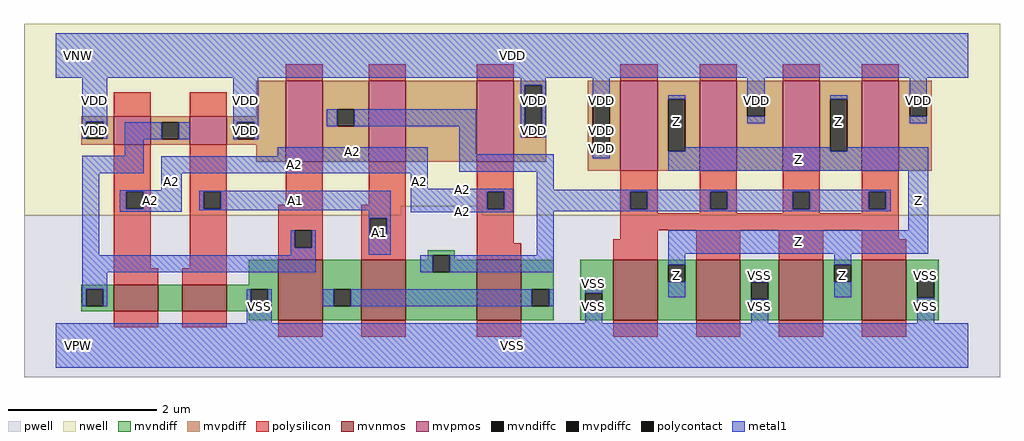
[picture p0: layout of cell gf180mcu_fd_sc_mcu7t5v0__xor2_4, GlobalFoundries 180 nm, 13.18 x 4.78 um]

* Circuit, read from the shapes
.subckt gf180mcu_fd_sc_mcu7t5v0__xor2_4 A1 A2 Z VDD VNW VPW VSS
XM1 n1 A2 n2 VPW nfet_06v0 w=0.36u l=0.6u
XM2 VSS A1 n1 VPW nfet_06v0 w=0.36u l=0.6u
XM3 n3 n2 VSS VPW nfet_06v0 w=0.82u l=0.6u
XM4 n4 A1 n3 VPW nfet_06v0 w=0.82u l=0.6u
XM5 n3 A2 n4 VPW nfet_06v0 w=0.82u l=0.6u
XM6 Z n4 VSS VPW nfet_06v0 w=0.82u l=0.6u m=4
XM7 n2 A2 VDD VNW pfet_06v0 w=0.385u l=0.5u
XM8 VDD A1 n2 VNW pfet_06v0 w=0.385u l=0.5u
XM9 n4 n2 VDD VNW pfet_06v0 w=1.095u l=0.5u
XM10 n5 A1 n4 VNW pfet_06v0 w=1.095u l=0.5u
XM11 VDD A2 n5 VNW pfet_06v0 w=1.095u l=0.5u
XM12 Z n4 VDD VNW pfet_06v0 w=1.22u l=0.5u m=4
.ends

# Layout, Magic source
magic
tech gf180mcuD
magscale 1 10
<< nwell >>
rect -86 377 2550 870
rect -86 352 931 377
rect 1151 352 2550 377
<< pwell >>
rect 931 352 1151 377
rect -86 -86 2550 352
<< mvnmos >>
rect 157 93 277 165
rect 341 93 461 165
rect 601 68 721 232
rect 825 68 945 232
rect 1137 68 1257 232
rect 1505 68 1625 232
rect 1729 68 1849 232
rect 1953 68 2073 232
rect 2177 68 2297 232
<< mvpmos >>
rect 157 543 257 620
rect 361 543 461 620
rect 621 497 721 716
rect 845 497 945 716
rect 1137 497 1237 716
rect 1525 472 1625 716
rect 1739 472 1839 716
rect 1963 472 2063 716
rect 2177 472 2277 716
<< mvndiff >>
rect 1005 244 1077 257
rect 1005 232 1018 244
rect 521 165 601 232
rect 69 152 157 165
rect 69 106 82 152
rect 128 106 157 152
rect 69 93 157 106
rect 277 93 341 165
rect 461 152 601 165
rect 461 106 526 152
rect 572 106 601 152
rect 461 93 601 106
rect 521 68 601 93
rect 721 152 825 232
rect 721 106 750 152
rect 796 106 825 152
rect 721 68 825 106
rect 945 198 1018 232
rect 1064 232 1077 244
rect 1064 198 1137 232
rect 945 68 1137 198
rect 1257 152 1345 232
rect 1257 106 1286 152
rect 1332 106 1345 152
rect 1257 68 1345 106
rect 1417 142 1505 232
rect 1417 96 1430 142
rect 1476 96 1505 142
rect 1417 68 1505 96
rect 1625 218 1729 232
rect 1625 172 1654 218
rect 1700 172 1729 218
rect 1625 68 1729 172
rect 1849 171 1953 232
rect 1849 125 1878 171
rect 1924 125 1953 171
rect 1849 68 1953 125
rect 2073 218 2177 232
rect 2073 172 2102 218
rect 2148 172 2177 218
rect 2073 68 2177 172
rect 2297 176 2385 232
rect 2297 130 2326 176
rect 2372 130 2385 176
rect 2297 68 2385 130
<< mvpdiff >>
rect 541 620 621 716
rect 69 605 157 620
rect 69 559 82 605
rect 128 559 157 605
rect 69 543 157 559
rect 257 603 361 620
rect 257 557 286 603
rect 332 557 361 603
rect 257 543 361 557
rect 461 603 621 620
rect 461 557 490 603
rect 536 557 621 603
rect 461 543 621 557
rect 541 497 621 543
rect 721 639 845 716
rect 721 593 760 639
rect 806 593 845 639
rect 721 497 845 593
rect 945 497 1137 716
rect 1237 703 1325 716
rect 1237 563 1266 703
rect 1312 563 1325 703
rect 1237 497 1325 563
rect 1437 665 1525 716
rect 1437 525 1450 665
rect 1496 525 1525 665
rect 1437 472 1525 525
rect 1625 665 1739 716
rect 1625 525 1654 665
rect 1700 525 1739 665
rect 1625 472 1739 525
rect 1839 665 1963 716
rect 1839 619 1868 665
rect 1914 619 1963 665
rect 1839 472 1963 619
rect 2063 665 2177 716
rect 2063 525 2092 665
rect 2138 525 2177 665
rect 2063 472 2177 525
rect 2277 665 2365 716
rect 2277 619 2306 665
rect 2352 619 2365 665
rect 2277 472 2365 619
<< mvndiffc >>
rect 82 106 128 152
rect 526 106 572 152
rect 750 106 796 152
rect 1018 198 1064 244
rect 1286 106 1332 152
rect 1430 96 1476 142
rect 1654 172 1700 218
rect 1878 125 1924 171
rect 2102 172 2148 218
rect 2326 130 2372 176
<< mvpdiffc >>
rect 82 559 128 605
rect 286 557 332 603
rect 490 557 536 603
rect 760 593 806 639
rect 1266 563 1312 703
rect 1450 525 1496 665
rect 1654 525 1700 665
rect 1868 619 1914 665
rect 2092 525 2138 665
rect 2306 619 2352 665
<< polysilicon >>
rect 621 716 721 760
rect 845 716 945 760
rect 1137 716 1237 760
rect 1525 716 1625 760
rect 1739 716 1839 760
rect 1963 716 2063 760
rect 2177 716 2277 760
rect 157 620 257 684
rect 361 620 461 684
rect 157 416 257 543
rect 157 370 190 416
rect 236 370 257 416
rect 157 209 257 370
rect 361 416 461 543
rect 361 370 399 416
rect 445 370 461 416
rect 621 381 721 497
rect 845 381 945 497
rect 361 209 461 370
rect 601 311 721 381
rect 601 265 645 311
rect 691 265 721 311
rect 601 232 721 265
rect 825 344 945 381
rect 825 298 848 344
rect 894 298 945 344
rect 825 232 945 298
rect 1137 415 1237 497
rect 1137 369 1165 415
rect 1211 369 1237 415
rect 1137 276 1237 369
rect 1525 415 1625 472
rect 1525 369 1551 415
rect 1597 369 1625 415
rect 1525 357 1625 369
rect 1739 415 1839 472
rect 1739 369 1767 415
rect 1813 369 1839 415
rect 1739 357 1839 369
rect 1963 415 2063 472
rect 1963 369 1990 415
rect 2036 369 2063 415
rect 1963 357 2063 369
rect 2177 415 2277 472
rect 2177 369 2196 415
rect 2242 369 2277 415
rect 2177 357 2277 369
rect 1525 311 2277 357
rect 1525 288 1625 311
rect 157 165 277 209
rect 341 165 461 209
rect 157 49 277 93
rect 341 49 461 93
rect 1137 232 1257 276
rect 1505 232 1625 288
rect 1729 232 1849 311
rect 1953 232 2073 311
rect 2177 288 2277 311
rect 2177 232 2297 288
rect 601 24 721 68
rect 825 24 945 68
rect 1137 24 1257 68
rect 1505 24 1625 68
rect 1729 24 1849 68
rect 1953 24 2073 68
rect 2177 24 2297 68
<< polycontact >>
rect 190 370 236 416
rect 399 370 445 416
rect 645 265 691 311
rect 848 298 894 344
rect 1165 369 1211 415
rect 1551 369 1597 415
rect 1767 369 1813 415
rect 1990 369 2036 415
rect 2196 369 2242 415
<< metal1 >>
rect 0 724 2464 844
rect 71 605 139 724
rect 71 559 82 605
rect 128 559 139 605
rect 479 603 547 724
rect 1255 703 1323 724
rect 186 557 286 603
rect 332 557 361 603
rect 479 557 490 603
rect 536 557 547 603
rect 732 593 760 639
rect 806 593 1136 639
rect 186 513 238 557
rect 71 466 238 513
rect 600 511 1005 536
rect 71 244 117 466
rect 285 465 1005 511
rect 1090 517 1136 593
rect 1255 563 1266 703
rect 1312 563 1323 703
rect 1450 665 1496 724
rect 1090 470 1345 517
rect 1450 506 1496 525
rect 1654 665 1700 676
rect 1868 665 1914 724
rect 1868 600 1914 619
rect 2092 665 2138 676
rect 1700 525 2092 536
rect 2306 665 2352 724
rect 2306 600 2352 619
rect 2138 525 2356 536
rect 1654 472 2356 525
rect 285 420 340 465
rect 172 416 340 420
rect 959 424 1005 465
rect 172 370 190 416
rect 236 370 340 416
rect 172 362 340 370
rect 387 416 905 419
rect 387 370 399 416
rect 445 370 905 416
rect 387 365 905 370
rect 845 344 905 365
rect 959 415 1236 424
rect 959 369 1165 415
rect 1211 369 1236 415
rect 959 360 1236 369
rect 1299 421 1345 470
rect 1299 415 2255 421
rect 1299 369 1551 415
rect 1597 369 1767 415
rect 1813 369 1990 415
rect 2036 369 2196 415
rect 2242 369 2255 415
rect 1299 363 2255 369
rect 634 265 645 311
rect 691 265 702 311
rect 634 244 702 265
rect 845 298 848 344
rect 894 298 905 344
rect 845 246 905 298
rect 1299 244 1345 363
rect 2302 312 2356 472
rect 71 198 702 244
rect 984 198 1018 244
rect 1064 198 1345 244
rect 1654 248 2356 312
rect 1654 218 1700 248
rect 71 152 139 198
rect 71 106 82 152
rect 128 106 139 152
rect 515 106 526 152
rect 572 106 583 152
rect 721 106 750 152
rect 796 106 1286 152
rect 1332 106 1345 152
rect 1430 142 1476 181
rect 515 60 583 106
rect 2102 218 2148 248
rect 1654 131 1700 172
rect 1878 171 1924 197
rect 1430 60 1476 96
rect 2102 131 2148 172
rect 2326 176 2372 197
rect 1878 60 1924 125
rect 2326 60 2372 130
rect 0 -60 2464 60
<< labels >>
flabel metal1 s 0 724 2464 844 0 FreeSans 400 0 0 0 VDD
port 4 nsew power bidirectional abutment
flabel metal1 s 2326 181 2372 197 0 FreeSans 400 0 0 0 VSS
port 7 nsew ground bidirectional abutment
flabel metal1 s 2092 536 2138 676 0 FreeSans 400 0 0 0 Z
port 3 nsew default output
flabel metal1 s 387 365 905 419 0 FreeSans 400 0 0 0 A1
port 1 nsew default input
flabel metal1 s 600 511 1005 536 0 FreeSans 400 0 0 0 A2
port 2 nsew default input
flabel nwell s 10 734 110 834 0 FreeSans 400 0 0 0 VNW
port 5 nsew power bidirectional
flabel pwell s 10 -50 110 50 0 FreeSans 400 0 0 0 VPW
port 6 nsew ground bidirectional
rlabel metal1 s 845 246 905 365 1 A1
port 1 nsew default input
rlabel metal1 s 285 465 1005 511 1 A2
port 2 nsew default input
rlabel metal1 s 959 424 1005 465 1 A2
port 2 nsew default input
rlabel metal1 s 285 424 340 465 1 A2
port 2 nsew default input
rlabel metal1 s 959 420 1236 424 1 A2
port 2 nsew default input
rlabel metal1 s 285 420 340 424 1 A2
port 2 nsew default input
rlabel metal1 s 959 362 1236 420 1 A2
port 2 nsew default input
rlabel metal1 s 172 362 340 420 1 A2
port 2 nsew default input
rlabel metal1 s 959 360 1236 362 1 A2
port 2 nsew default input
rlabel metal1 s 1654 536 1700 676 1 Z
port 3 nsew default output
rlabel metal1 s 1654 472 2356 536 1 Z
port 3 nsew default output
rlabel metal1 s 2302 312 2356 472 1 Z
port 3 nsew default output
rlabel metal1 s 1654 248 2356 312 1 Z
port 3 nsew default output
rlabel metal1 s 2102 131 2148 248 1 Z
port 3 nsew default output
rlabel metal1 s 1654 131 1700 248 1 Z
port 3 nsew default output
rlabel metal1 s 2306 600 2352 724 1 VDD
port 4 nsew power bidirectional abutment
rlabel metal1 s 1868 600 1914 724 1 VDD
port 4 nsew power bidirectional abutment
rlabel metal1 s 1450 600 1496 724 1 VDD
port 4 nsew power bidirectional abutment
rlabel metal1 s 1255 600 1323 724 1 VDD
port 4 nsew power bidirectional abutment
rlabel metal1 s 479 600 547 724 1 VDD
port 4 nsew power bidirectional abutment
rlabel metal1 s 71 600 139 724 1 VDD
port 4 nsew power bidirectional abutment
rlabel metal1 s 1450 563 1496 600 1 VDD
port 4 nsew power bidirectional abutment
rlabel metal1 s 1255 563 1323 600 1 VDD
port 4 nsew power bidirectional abutment
rlabel metal1 s 479 563 547 600 1 VDD
port 4 nsew power bidirectional abutment
rlabel metal1 s 71 563 139 600 1 VDD
port 4 nsew power bidirectional abutment
rlabel metal1 s 1450 559 1496 563 1 VDD
port 4 nsew power bidirectional abutment
rlabel metal1 s 479 559 547 563 1 VDD
port 4 nsew power bidirectional abutment
rlabel metal1 s 71 559 139 563 1 VDD
port 4 nsew power bidirectional abutment
rlabel metal1 s 1450 557 1496 559 1 VDD
port 4 nsew power bidirectional abutment
rlabel metal1 s 479 557 547 559 1 VDD
port 4 nsew power bidirectional abutment
rlabel metal1 s 1450 506 1496 557 1 VDD
port 4 nsew power bidirectional abutment
rlabel metal1 s 1878 181 1924 197 1 VSS
port 7 nsew ground bidirectional abutment
rlabel metal1 s 2326 152 2372 181 1 VSS
port 7 nsew ground bidirectional abutment
rlabel metal1 s 1878 152 1924 181 1 VSS
port 7 nsew ground bidirectional abutment
rlabel metal1 s 1430 152 1476 181 1 VSS
port 7 nsew ground bidirectional abutment
rlabel metal1 s 2326 60 2372 152 1 VSS
port 7 nsew ground bidirectional abutment
rlabel metal1 s 1878 60 1924 152 1 VSS
port 7 nsew ground bidirectional abutment
rlabel metal1 s 1430 60 1476 152 1 VSS
port 7 nsew ground bidirectional abutment
rlabel metal1 s 515 60 583 152 1 VSS
port 7 nsew ground bidirectional abutment
rlabel metal1 s 0 -60 2464 60 1 VSS
port 7 nsew ground bidirectional abutment
<< properties >>
string FIXED_BBOX 0 0 2464 784
string GDS_END 371026
string GDS_FILE $PDKPATH/libs.ref/gf180mcu_fd_sc_mcu7t5v0/gds/gf180mcu_fd_sc_mcu7t5v0.gds
string GDS_START 365280
string LEFclass core
string LEFsite GF018hv5v_mcu_sc7
string LEFsymmetry X Y
<< end >>
